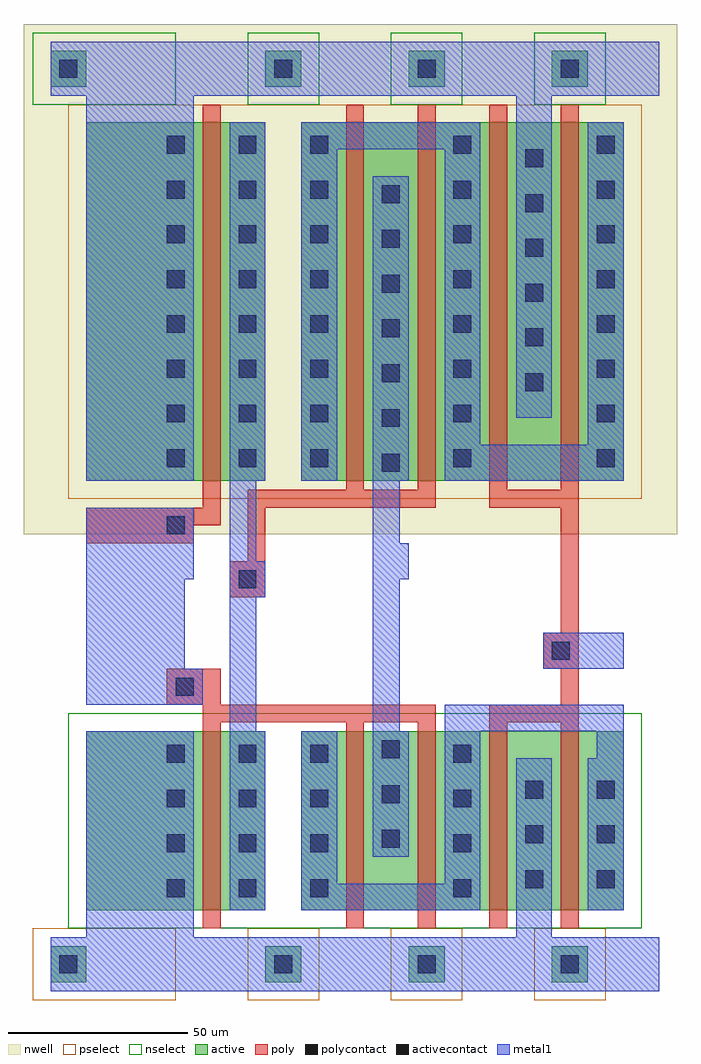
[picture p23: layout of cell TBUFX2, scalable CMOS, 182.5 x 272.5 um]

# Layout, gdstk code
import gdstk
lib = gdstk.Library(unit=1e-6, precision=1e-09)
def R(c, l, rs):  # rectangles x0, y0, x1, y1
    for r in rs: c.add(gdstk.rectangle(r[:2], r[2:], *l))
def A(c, l, x, y, w, h, nx, ny, dx, dy):  # array of equal rectangles
    R(c, l, [(x+i*dx, y+j*dy, x+i*dx+w, y+j*dy+h) for i in range(nx) for j in range(ny)])
nwell = (42, 0)
active = (43, 0)
pselect = (44, 0)
nselect = (45, 0)
poly = (46, 0)
polycontact = (47, 0)
activecontact = (48, 0)
metal1 = (49, 0)

tbufx2 = lib.new_cell('TBUFX2')
R(tbufx2, nwell, [(-12.5,120,170,262.5)])
A(tbufx2, active, 55, -5, 10, 10, 3, 2, 40, 250)
R(tbufx2, active, [(-5,-5,5,5), (5,15,55,65), (65,15,155,65), (5,135,55,235), (65,135,155,235), (-5,245,5,255)])
A(tbufx2, pselect, 50, -10, 20, 20, 3, 1, 40, 0)
R(tbufx2, pselect, [(-10,-10,30,10), (0,130,160,240)])
A(tbufx2, nselect, 50, 240, 20, 20, 3, 1, 40, 0)
R(tbufx2, nselect, [(0,10,160,70), (-10,240,30,260)])
A(tbufx2, poly, 77.5, 10, 5, 57.5, 4, 1, 20, 0)
A(tbufx2, poly, 77.5, 132.5, 5, 107.5, 4, 1, 20, 0)
R(tbufx2, poly, [(37.5,10,42.5,67.5), (37.5,67.5,102.5,72.5), (117.5,67.5,142.5,72.5), (27.5,72.5,42.5,82.5), (137.5,72.5,142.5,82.5), (132.5,82.5,142.5,92.5), (137.5,92.5,142.5,127.5), (45,102.5,55,112.5), (50,112.5,55,127.5), (5,117.5,35,122.5), (5,122.5,42.5,127.5), (37.5,127.5,42.5,240), (50,127.5,102.5,132.5), (117.5,127.5,142.5,132.5)])
R(tbufx2, polycontact, [(30,75,35,80), (135,85,140,90), (47.5,105,52.5,110), (27.5,120,32.5,125)])
A(tbufx2, activecontact, 57.5, -2.5, 5, 5, 3, 2, 40, 250)
A(tbufx2, activecontact, 27.5, 18.75, 5, 5, 3, 4, 20, 12.5)
A(tbufx2, activecontact, 107.5, 18.75, 5, 5, 1, 4, 0, 12.5)
A(tbufx2, activecontact, 127.5, 21.25, 5, 5, 1, 3, 0, 12.5)
A(tbufx2, activecontact, 147.5, 21.25, 5, 5, 1, 3, 0, 12.5)
A(tbufx2, activecontact, 87.5, 32.5, 5, 5, 1, 3, 0, 12.5)
A(tbufx2, activecontact, 87.5, 137.5, 5, 5, 1, 7, 0, 12.5)
A(tbufx2, activecontact, 27.5, 138.75, 5, 5, 3, 8, 20, 12.5)
A(tbufx2, activecontact, 107.5, 138.75, 5, 5, 1, 8, 0, 12.5)
A(tbufx2, activecontact, 147.5, 138.75, 5, 5, 1, 8, 0, 12.5)
A(tbufx2, activecontact, 127.5, 160, 5, 5, 1, 6, 0, 12.5)
R(tbufx2, activecontact, [(-2.5,-2.5,2.5,2.5), (-2.5,247.5,2.5,252.5)])
R(tbufx2, metal1, [(-5,-7.5,165,7.5), (5,7.5,35,65), (125,7.5,135,57.5), (45,15,55,65), (65,15,115,22.5), (145,15,155,57.5), (65,22.5,75,65), (105,22.5,115,65), (85,30,95,65), (147.5,57.5,155,65), (45,65,52.5,102.5), (85,65,92.5,107.5), (105,65,155,72.5), (5,72.5,37.5,82.5), (5,82.5,32.5,107.5), (132.5,82.5,155,92.5), (45,102.5,55,112.5), (5,107.5,35,127.5), (85,107.5,95,117.5), (45,112.5,52.5,135), (85,117.5,92.5,135), (5,135,35,242.5), (45,135,55,235), (65,135,75,227.5), (85,135,95,220), (105,135,155,145), (105,145,115,227.5), (145,145,155,235), (125,152.5,135,242.5), (65,227.5,115,235), (-5,242.5,165,257.5)])

lib.write_gds('TBUFX2.gds')
